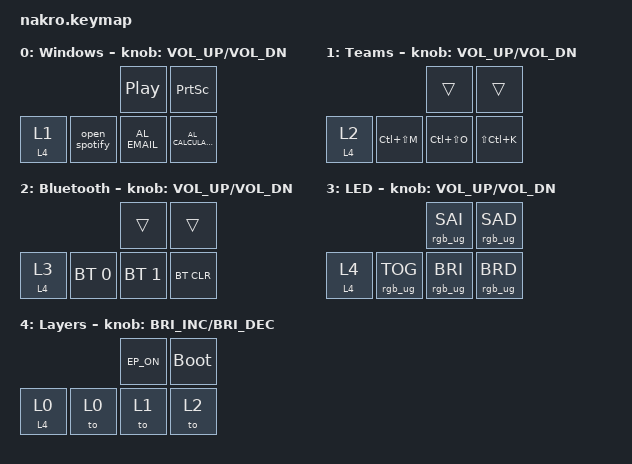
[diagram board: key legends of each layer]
#include <behaviors.dtsi>
#include <dt-bindings/zmk/backlight.h>
#include <dt-bindings/zmk/bt.h>
#include <dt-bindings/zmk/keys.h>
#include <dt-bindings/zmk/rgb.h>
#include <dt-bindings/zmk/ext_power.h>

&right_encoder {status = "okay";};

&led_strip {
    chain-length = <6>;
};

/ {
    macros {
        open_spotify: Open_Spotify {
            compatible = "zmk,behavior-macro";
            #binding-cells = <0>;
            bindings =
                <&kp LEFT_WIN>,
                <&macro_wait_time 250>,
                <&kp S &kp P &kp O &kp T &kp I &kp F &kp Y>,
                <&macro_wait_time 500>,
                <&kp ENTER>,
                <&macro_tap>;

            label = "OPEN_SPOTIFY";
        };
    };

    behaviors {
        hold_tap_layer: hold_tap_layer {
            compatible = "zmk,behavior-hold-tap";
            label = "HOLD_TAP_LAYER";
            bindings = <&mo>, <&to>;

            #binding-cells = <2>;
            tapping-term-ms = <200>;
        };
    };

    keymap {
        compatible = "zmk,keymap";

        0_default_layer {
            display-name="Windows";
            bindings = <
                                            &kp C_PLAY_PAUSE                &kp PRINTSCREEN
&hold_tap_layer 4 1     &open_spotify       &kp C_AL_EMAIL                  &kp C_AL_CALCULATOR
            >;
            sensor-bindings = <
            &inc_dec_kp C_VOL_UP C_VOL_DN
            >;
        };

        1_layer_teams {
            display-name="Teams";
            bindings = <
                                            &trans                          &trans
&hold_tap_layer 4 2     &kp LC(LS(M))       &kp LC(LS(O))                   &kp LS(LC(K))
            >;
            sensor-bindings = <
            &inc_dec_kp C_VOL_UP C_VOL_DN
            >;
        };

        2_layer_bluetooth {
            display-name="Bluetooth";
            bindings = <
                                            &trans                          &trans
&hold_tap_layer 4 3     &bt BT_SEL 0        &bt BT_SEL 1                    &bt BT_CLR
            >;
            sensor-bindings = <
            &inc_dec_kp C_VOL_UP C_VOL_DN
            >;
        };

        3_layer_led {
            display-name="LED";
            bindings = <
                                            &rgb_ug RGB_SAI                 &rgb_ug RGB_SAD
&hold_tap_layer 4 4     &rgb_ug RGB_TOG     &rgb_ug RGB_BRI                 &rgb_ug RGB_BRD
            >;
            sensor-bindings = <
            &inc_dec_kp C_VOL_UP C_VOL_DN
            >;
        };

        4_layer_selection {
            display-name="Layers";
            bindings = <
                                            &kp EP_ON                       &bootloader
&hold_tap_layer 4 0     &to 0               &to 1                           &to 2
            >;
            sensor-bindings = <
            &inc_dec_kp C_BRIGHTNESS_INC C_BRIGHTNESS_DEC
            >;
        };
    };
};
